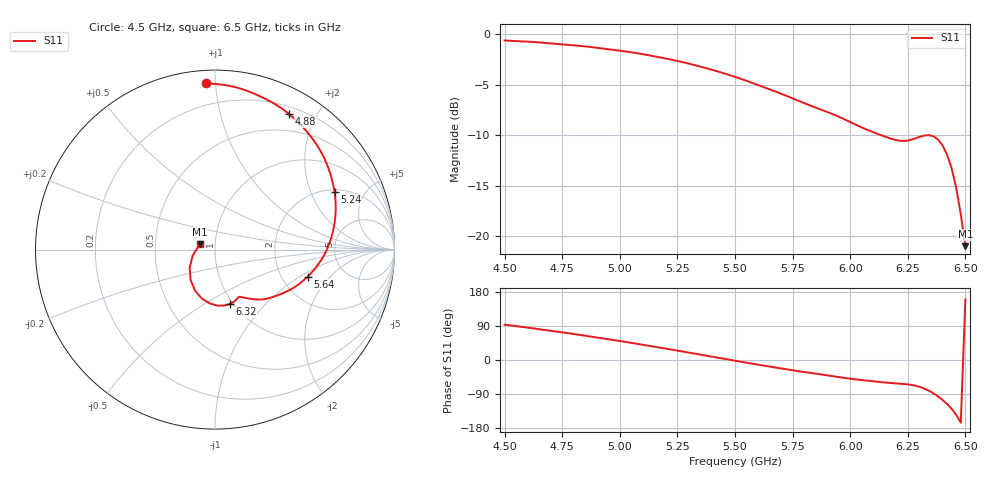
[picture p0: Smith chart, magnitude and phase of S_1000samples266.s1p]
! TOUCHSTONE file generated by CST MICROWAVE STUDIO
! Date and time: Thu Oct 27 13:58:13 2022
! Project name: L.cst
! Parameters = {Di=1.27; Epsilon_r=1.56; InnerDiameter=1.27; Length=2; Lf=10; Lg=60; OuterConductorThickness=0.2921; OuterDiameter=3.6; Wf=3; Wp=41.2; de=1.5; df=6.8; g=0.8; gx=2.15902; gy=4.94321; h=2.34; hf=1.524; px=12.7724; py=10.6724; w=9.7; wx=10.6133; wy=5.72919}
! Header version: 2018
! Port assignment regex: !\s*Touchstone port\s*([0-9]+)\s*=\s*(CST MWS port|CST DS port)\s*([0-9]+|Zmin|Zmax)\s*\(\"(.*)\"\)(\s*mode\s*([0-9]+))?.*
! Touchstone port assignment:
! Touchstone port 1 = CST MWS port 1 ("")
# GHz S DB R 50
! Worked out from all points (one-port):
!   101 points, 4.5 GHz to 6.5 GHz, reference 50 ohm
!   lowest |S11| = -21.0 dB at 6.5 GHz (marker M1), VSWR 1.20, Z = 42.2 + j2.58 ohm
!   |S11| at or under -10 dB: 6.133 GHz to end of sweep
!   S11 on the Smith chart (normalised r, x): 4.5 GHz: 0.07, +0.94; 4.88 GHz: 0.28, +1.65; 5.24 GHz: 2.10, +2.99; 5.64 GHz: 2.77, -1.17; 6.32 GHz: 0.96, -0.65; 6.5 GHz: 0.84, +0.05
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4.5  -0.64 93.1
4.62  -0.78 83.8
4.76  -1.05 72.0
4.88  -1.31 61.3
5  -1.65 50.1
5.12  -2.08 38.1
5.24  -2.62 25.8
5.26  -2.72 23.7
5.38  -3.42 10.9
5.5  -4.24 -1.9
5.56  -4.72 -8.2
5.64  -5.39 -16.3
5.76  -6.46 -28.0
5.9  -7.71 -40.4
6  -8.71 -49.3
6.18  -10.38 -60.9
6.22  -10.57 -62.7
6.26  -10.49 -65.2
6.3  -10.19 -70.6
6.32  -10.05 -74.9
6.36  -10.11 -87.5
6.38  -10.42 -95.7
6.4  -10.99 -105.1
6.42  -11.90 -116.0
6.44  -13.26 -128.7
6.46  -15.19 -144.3
6.48  -17.86 -165.6
6.5  -20.99 160.1
